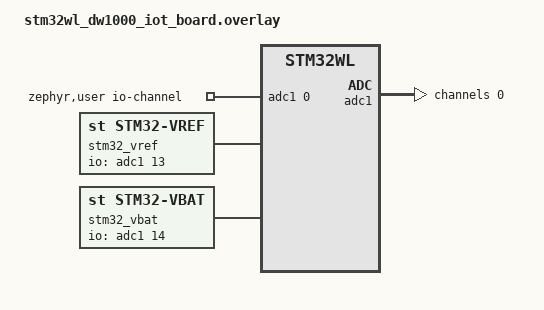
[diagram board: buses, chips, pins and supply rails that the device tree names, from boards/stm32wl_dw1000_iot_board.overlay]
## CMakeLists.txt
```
cmake_minimum_required(VERSION 3.20.0)

find_package(Zephyr REQUIRED HINTS $ENV{ZEPHYR_BASE})
project(stm32wle5_rtos_meas)

FILE(GLOB app_sources src/*.c)
target_sources(app PRIVATE ${app_sources})
```

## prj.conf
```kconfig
# Debugger support
CONFIG_UART_CONSOLE=y
CONFIG_CONSOLE=y

# Communication Bus Support
CONFIG_GPIO=y
CONFIG_SPI=y

# Hardware Support
CONFIG_SENSOR=y
CONFIG_ADC=y

# Power Management Support
CONFIG_PM=y
CONFIG_PM_DEVICE=y
CONFIG_PM_DEVICE_RUNTIME=y
CONFIG_PM_DEVICE_RUNTIME_EXCLUSIVE=n

# Flash Memory Support
CONFIG_NVS=y
CONFIG_FLASH=y
CONFIG_FLASH_PAGE_LAYOUT=y
CONFIG_MPU_ALLOW_FLASH_WRITE=y

# Stack Support
CONFIG_MAIN_STACK_SIZE=2048
CONFIG_SYSTEM_WORKQUEUE_STACK_SIZE=2048
```

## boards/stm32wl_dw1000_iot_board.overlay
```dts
/*
 * Copyright (c) 2023
 * Regis Rousseau
 * Univ Lyon, INSA Lyon, Inria, CITI, EA3720
 * SPDX-License-Identifier: Apache-2.0
 */

/* configuration of ADC for geophone sensor */
/* adjust channel number according to pinmux in board.dts */
/* PB13 ADC_GSONE -> ADC_IN0 - see datasheet Pinout Config pg 56/149 */

/ {
	zephyr,user {
		io-channels = <&adc1 0>;
	};
};

/* VREF internal voltage monitoring */
/* internal voltage reference of STM32, IN13 - see datasheet pg 42/149 */
/* Vrefint = 1232mV max - see datasheet pg 78/149, table 36 */
/ {
	stm32_vref: stm32vref {
    	compatible = "st,stm32-vref";
		io-channels = <&adc1 13>;
		vrefint-cal-addr = <13>;
		vrefint-cal-mv = <1232>;
    	status = "okay";
	};
};

/* VBAT battery voltage monitoring - see datasheet pg 42/149, part 3.18.3 */
/* internal ADC channnel of STM32, IN14 */
/* ratio = 3 -> the converted digital value is 1/3 of vbat */
/ {
	stm32_vbat: stm32vbat {
    	compatible = "st,stm32-vbat";
    	io-channels = <&adc1 14>;
   		ratio = <3>;
    	status = "okay";
	};
};

/* channel IN0 configuration */
&adc1 {
	#size-cells = <0>;
	channel@0 {
		reg = <0>;
		zephyr,gain = "ADC_GAIN_1";
		zephyr,reference = "ADC_REF_INTERNAL";
		zephyr,acquisition-time = <ADC_ACQ_TIME_MAX>;
		zephyr,resolution = <12>;
	};
	status = "okay";
};
```

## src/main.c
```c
#include <zephyr/device.h>
#include <zephyr/kernel.h>
#include "app_adc.h"
#include "app_vbat.h"
#include "app_flash.h"

//  ======== globals ============================================
uint16_t cnt;           // declaration of counter index

//  ======== interrupt sub-routine ===============================
void adc_work_handler(struct k_timer *work)
{
	uint16_t value;
	value = app_adc_get_val();
	cnt++;
}
K_WORK_DEFINE(adc_work, adc_work_handler);

void adc_timer_handler(struct k_timer *timer)
{
	k_work_submit(&adc_work);
}
K_TIMER_DEFINE(adc_timer, adc_timer_handler, NULL);

//  ======== main ===============================================
int8_t main(void)
{
	const struct device *vref_dev = NULL;
	const struct device *vbat_dev = NULL;
	struct nvs_fs flash;
	uint16_t vref, vbat;
	cnt = 0;
	uint32_t max_cnt = 0;
	int8_t ret;

	// setup all devices
	vref_dev = DEVICE_DT_GET_ONE(st_stm32_vref);
	vbat_dev = DEVICE_DT_GET_ONE(st_stm32_vbat);
	app_stm32_vref_init(vref_dev);
	app_stm32_vbat_init(vbat_dev);
	app_flash_init(&flash);
	
	printk("Battery Level Measurement\nBoard: %s\n", CONFIG_BOARD);

	// beginning of isr timer
	k_timer_start(&adc_timer, K_NO_WAIT, K_MSEC(5));		// for test

	while (1) {
		// counter value for waiting 10 min -> 600000ms
		if (cnt >= 600000) {
			vref = app_stm32_get_vref(vref_dev);
			vbat = app_stm32_get_vbat(dev, vref);
			// writing data in the first page of 2kbytes
			(void)nvs_write(&flash, NVS_BAT_ID, &vbat, sizeof(vbat));
			
			max_cnt++;
			// writing data in the first page of 2kbytes
			(void)nvs_write(&flash, NVS_SENSOR_ID, &max_cnt, sizeof(max_cnt));
			cnt = 0;
		}
	}
	// reading the first page
	ret = nvs_read(&flash, NVS_SENSOR_ID, &max_cnt, sizeof(max_cnt));
	// printing data stored in memory
	printk("max value of counter: %"PRIu32"\n",max_cnt);

	// reading the first page
	ret = nvs_read(&flash, NVS_BAT_ID, &vbat, sizeof(vbat));
	// printing data stored in memory
	printk("min value of battery: %"PRIu32"\n",vbat);

	return 0;
}
```

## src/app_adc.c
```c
/*
 * Copyright (c) 2023
 * Regis Rousseau
 * Univ Lyon, INSA Lyon, Inria, CITI, EA3720
 * SPDX-License-Identifier: Apache-2.0
 */

#include "app_adc.h"

//  ======== globals ============================================
uint16_t sp_buf;		

static const struct adc_dt_spec adc_channels[] = {
	DT_FOREACH_PROP_ELEM(DT_PATH(zephyr_user), io_channels, DT_SPEC_AND_COMMA)
};

struct adc_sequence adc_ch13_seq = {
	.buffer 		= &sp_buf,
	.buffer_size	= sizeof(sp_buf),
};

//  ======== app_adc_handler ====================================
uint16_t app_adc_get_val(void)
{
	int8_t err;

	// getting STM32 ADC device at GPIO PB13
	for (size_t i = 0U; i < ARRAY_SIZE(adc_channels); i++) {
		if (!device_is_ready(adc_channels[i].dev)) {
			printk("ADC controller device %s not ready\n", adc_channels[i].dev->name);
		return 0;
		}
		// getting channel setup
		err = adc_channel_setup_dt(&adc_channels[i]);
		if (err < 0) {
			printk("could not setup channel 13. error: %d\n", err);
			return 0;
		}
	}

	// initialization of channel and getting data
	// resolution 12 bits: 0 to 4095 (uint16)
	for (size_t i = 0U; i < ARRAY_SIZE(adc_channels); i++) {
		(void)adc_sequence_init_dt(&adc_channels[i], &adc_ch13_seq);
		err = adc_read(adc_channels[i].dev, &adc_ch13_seq);
	}
	return sp_buf;
}
```

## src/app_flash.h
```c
/*
 * Copyright (c) 2023
 * Regis Rousseau
 * Univ Lyon, INSA Lyon, Inria, CITI, EA3720
 * SPDX-License-Identifier: Apache-2.0
 */

#ifndef APP_FLASH_H
#define APP_FLASH_H

//  ======== includes ==============================================
#include <zephyr/kernel.h>
#include <zephyr/device.h>
#include <zephyr/fs/nvs.h>
#include <zephyr/drivers/flash.h>
#include <zephyr/storage/flash_map.h>

//  ======== defines ===============================================
#define NVS_PARTITION			storage_partition
#define NVS_PARTITION_DEVICE	FIXED_PARTITION_DEVICE(NVS_PARTITION)
#define NVS_PARTITION_OFFSET	FIXED_PARTITION_OFFSET(NVS_PARTITION)   
#define NVS_SENSOR_ID			1 
#define NVS_BAT_ID				2                           

//  ======== prototypes ============================================
int8_t app_flash_init(struct nvs_fs *fs);

#endif /* APP_FLASH_H */
```

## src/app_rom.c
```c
/*
 * Copyright (c) 2023
 * Regis Rousseau
 * Univ Lyon, INSA Lyon, Inria, CITI, EA3720
 * SPDX-License-Identifier: Apache-2.0
 */

#include "app_rom.h"

//  ======== globals ============================================
uint8_t dev_eui[] = LORAWAN_DEV_EUI;
int32_t times = 1678984720;;

struct rom_data {
	uint8_t *id;
	int32_t timestamp;
	uint16_t val;
};

int8_t ind_r;		// index used by Interrupt Service Routine

//  ======== app_rom_init =========================================
 int8_t app_rom_init(const struct device *dev)
 {
    int8_t ret;
	ssize_t size;

	// getting eeprom device
	dev = DEVICE_DT_GET(DT_ALIAS(eeprom0));

    if (dev == NULL) {
		printk("no eeprom device found. error: %d\n", dev);
		return 0;
	}
    if (!device_is_ready(dev)) {
		printk("eeprom is not ready\n");
		return 0;
	} else {
        printk("- found device \"%s\", writing/reading data\n", dev->name);
    }

	// erasing 1 page at @0x00
	ret  = flash_erase(dev, ROM_OFFSET, 1024*ROM_PAGE_SIZE);
	if (ret) {
		printk("error erasing flash. error: %d\n", ret);
	} else {
		printk("erased all pages\n");
	}

	// check eeprom size
	size = eeprom_get_size(dev);
	printk("using eeprom with size of: %zu.\n", size);
	ind_r = 0;	// initialisation of isr index
	return 0;
}

//  ======== app_rom_write ========================================
int8_t app_rom_write(const struct device *dev, void *data)
{
	int8_t ret;
	dev = DEVICE_DT_GET(DT_ALIAS(eeprom0));

	// writing data in the first page of 2kbytes
	ret = flash_write(dev, ROM_OFFSET, data, sizeof(data));
	if (ret) {
		printk("error writing data. error: %d\n", ret);
	} else {
		printk("wrote %zu bytes to address 0x0003f000\n", sizeof(data));
	}
	return 0;
}

//  ======== app_rom_read =========================================
int8_t app_rom_read(const struct device *dev)
{
	int8_t ret;
	struct rom_data data[ROM_STRUCT_SIZE];
	dev = DEVICE_DT_GET(DT_ALIAS(eeprom0));

	// reading the first page
	ret = flash_read(dev, ROM_OFFSET, data, sizeof(data));
	if (ret) {
		printk("error reading data.. error: %d\n", ret);
	} else {
		printk("read %zu bytes from address 0x00\n", sizeof(data));
	}
	// printing data
	for (int8_t i = 0; i < ROM_STRUCT_SIZE; i++) {
		printk("val: %d\n", data[i].val);
	}
	return 0;
}

//  ======== app_rom_handler ======================================
int8_t app_rom_handler(const struct device *dev)
{
	int8_t ret;
	const struct device *lora_dev;
	struct rom_data data[ROM_BUFFER_SIZE];
	uint16_t adc_val;

	// getting lora sx1276 device and eeprom device
	lora_dev = DEVICE_DT_GET(DT_ALIAS(lora0));
	dev = DEVICE_DT_GET(DT_ALIAS(eeprom0));

	// getting value of the geophone from the adc
	adc_val = app_adc_get_val();

	// definition of a trigger threshold
	if (adc_val > THRESHOLD){

		// putting 36 structures in all page (1024 pages in this eeprom)
		if (ind_r < 1024*ROM_STRUCT_SIZE) {
			data[ind_r].id = dev_eui;
			data[ind_r].timestamp = times;
			data[ind_r].val = adc_val;
			ind_r++;
		} else {
			// writing data in pages of eeprom
			app_rom_write(dev, data);

			// sending data
			app_lorawan_handler(lora_dev, data);
			ind_r = 0;
		}
	}
	return 0;
}
```

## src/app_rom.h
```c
/*
 * Copyright (c) 2023
 * Regis Rousseau
 * Univ Lyon, INSA Lyon, Inria, CITI, EA3720
 * SPDX-License-Identifier: Apache-2.0
 */
 
#ifndef APP_ROM_H_
#define APP_ROM_H_

//  ======== includes =============================================
#include <zephyr/kernel.h>
#include <zephyr/device.h>
#include <zephyr/drivers/eeprom.h>
#include <zephyr/drivers/flash.h>

//  ======== defines ==============================================
#define ROM_OFFSET              0x00
#define ROM_PAGE_SIZE           512
#define ROM_BUFFER_SIZE         14      // 1 structure: ID+timestamp+value = 14 bytes
#define ROM_STRUCT_SIZE         36      // number of structures to store per page
#define LORAWAN_DEV_EUI		    { 0x70, 0xB3, 0xD5, 0x7E, 0xD0, 0x06, 0x21, 0xA5 }  // ID for test
#define THRESHOLD               4095    // no threshold for this test
                                        
//  ======== prototypes ===========================================
int8_t app_rom_init(const struct device *dev);
int8_t app_rom_write(const struct device *dev, void *data);
int8_t app_rom_read(const struct device *dev);
int8_t app_rom_handler(const struct device *dev);

#endif /* APP_ROM_H_ */
```

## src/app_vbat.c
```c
/*
 * Copyright (c) 2023
 * Regis Rousseau
 * Univ Lyon, INSA Lyon, Inria, CITI, EA3720
 * SPDX-License-Identifier: Apache-2.0
 */

#include "app_vbat.h"

//  ======== app_stm32_vbat_init ============================================
int8_t app_stm32_vbat_init(const struct device *dev)
{
    // getting internal vbat ADC device at GPIO IN14
    dev = DEVICE_DT_GET_ONE(st_stm32_vbat);

    if (dev == NULL) {
        printk("error: no stm32 vbat device found\n");
		return 0;
	}

    if (!device_is_ready(dev)) {
		printk("error: stm32 vbat is not ready\n");
		return 0;
	} else {
        printk("- found device \"%s\", getting vbat data\n", dev->name);
    }
    return 0;
}

//  ======== app_stm32_get_vbat =============================================
uint16_t app_stm32_get_vbat(const struct device *dev, uint16_t val)
{
    struct sensor_value bat_int32;
    uint16_t bat_uint16, vbat;
    int8_t ret;

    // fetching data
    ret = sensor_sample_fetch(dev);
    if (ret < 0) {        
	    printk("stm32 vbat sample is not up to date. error: %d\n", ret);
	    return 0;
    }

    // getting channel function
	ret = sensor_channel_get(dev, SENSOR_CHAN_VOLTAGE, &bat_int32);
    if (ret < 0) {
        printk("can't read sensor channels. error: %d\n", ret);
	    return 0;
    }

    // battery level received and converted from channel get
    // resolution 12bits: 0 to 4095 (uint16)
    bat_uint16 = (uint16_t)(sensor_value_to_milli(&bat_int32));
    vbat = (bat_uint16*val)/3300;
    printk("stm32 vbat: %"PRIu16"\n", vbat);
    return vbat;
}
```
